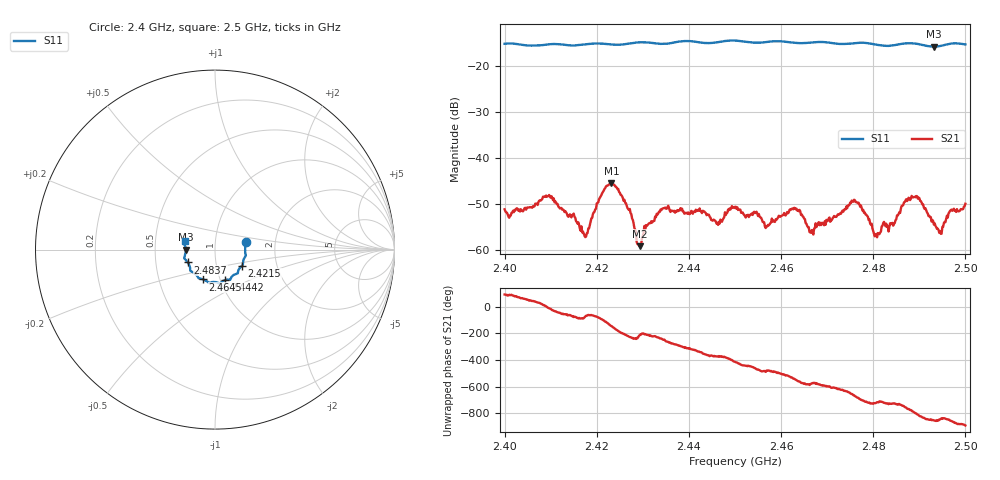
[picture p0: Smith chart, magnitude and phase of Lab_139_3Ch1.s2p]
# Hz S RI R 50
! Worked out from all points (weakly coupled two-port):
!   601 points, 2.4 GHz to 2.5 GHz, reference 50 ohm
!   highest |S21| = -45.46 dB at 2.4232 GHz (marker M1); lowest = -59.1 dB at 2.4293 GHz (marker M2)
!   lowest |S11| = -15.7 dB at 2.4932 GHz (marker M3), VSWR 1.39, Z = 35.9 - j0.0598 ohm
!   |S11| at or under -10 dB: start of sweep to end of sweep
!   S12 and S22 are empty: the file has one direction only
!   S11 on the Smith chart (normalised r, x): 2.4 GHz: 1.41, +0.12; 2.4215 GHz: 1.33, -0.25; 2.4442 GHz: 1.05, -0.37; 2.4645 GHz: 0.83, -0.29; 2.4837 GHz: 0.73, -0.11; 2.5 GHz: 0.71, +0.07
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2.4e9  0.1712 0.0401  -6.97e-06 0.00279  0 0  0 0
2.409833e9  0.1713 -0.0289  0.0037 -0.00105  0 0  0 0
2.416667e9  0.1568 -0.0698  4.11e-05 -0.00183  0 0  0 0
2.417833e9  0.1557 -0.0779  0.000546 -0.00143  0 0  0 0
2.4215e9  0.1512 -0.0898  -0.00103 -0.00434  0 0  0 0
2.423167e9  0.1434 -0.0964  -0.00443 -0.00298  0 0  0 0
2.427e9  0.1285 -0.1212  -0.00192 0.00197  0 0  0 0
2.429333e9  0.1271 -0.1311  -0.000921 0.000624  0 0  0 0
2.433333e9  0.1082 -0.1386  -0.00156 0.00198  0 0  0 0
2.444167e9  0.0564 -0.1695  0.00244 -0.000178  0 0  0 0
2.45e9  0.0248 -0.189  0.00176 -0.0024  0 0  0 0
2.457e9  -0.0231 -0.1826  -0.000958 -0.00155  0 0  0 0
2.4645e9  -0.0658 -0.166  -0.00206 0.00134  0 0  0 0
2.466667e9  -0.0826 -0.162  -0.00134 0.000986  0 0  0 0
2.475833e9  -0.1286 -0.1231  0.00201 0.00292  0 0  0 0
2.4805e9  -0.1386 -0.1028  0.00147 -8.85e-05  0 0  0 0
2.483333e9  -0.1489 -0.0749  0.00157 -0.00032  0 0  0 0
2.483667e9  -0.151 -0.0717  0.00195 -0.000281  0 0  0 0
2.488833e9  -0.1713 -0.0453  0.00123 -0.0036  0 0  0 0
2.493167e9  -0.1635 -0.000809  -0.0013 -0.0014  0 0  0 0
2.494667e9  -0.1657 0.0177  -0.000805 -0.00128  0 0  0 0
2.5e9  -0.1653 0.0506  -0.00317 -0.000508  0 0  0 0
